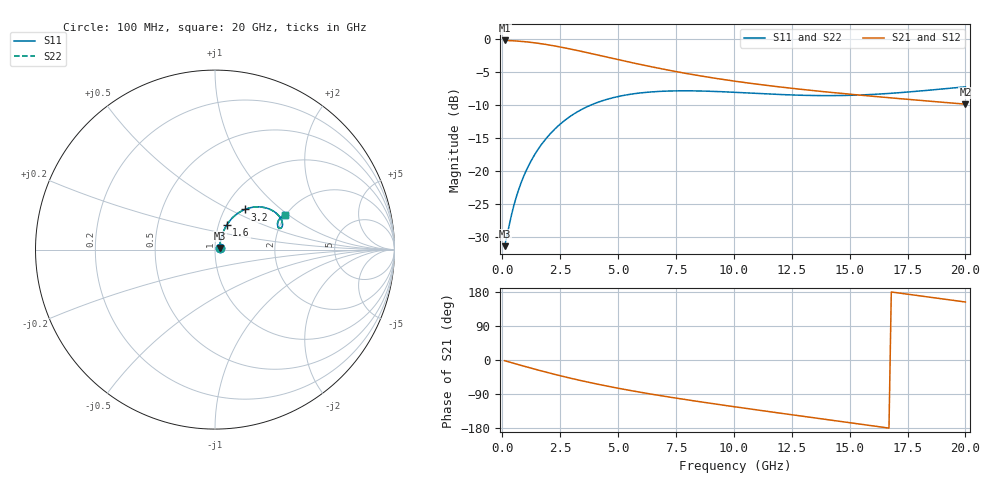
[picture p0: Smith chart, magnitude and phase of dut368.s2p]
! Touchstone file exported from HFSS 2024.1.0
!  File:  C:/UserFiles/LocalFiles/RDL_TSV_Batchsim/temp_RDL_TSV_368_1779642239.aedt
!  Generated:  01:20:57 AM May 25, 2026
!  Design:  RDL_TSV
!  Project:  temp_RDL_TSV_368_1779642239
!  Setup:  Setup1
!  Solution:  Sweep
! Variables:
!  dtsv = 5.97um
!  hbump = 3um
!  htsv = 83.08um
!  ldown = 245.16um
!  lrdl = 523.73um
!  p = 40
!  p1 = 56.94um
!  rhole = 10um
!  subl = 2830.4um
!  t = 450um
!  tdown = 3.2um
!  trdl = 3.09um
!  viad = 10um
!  wdown = 21.89um
!  wrdl = 11.69um
!  xbump = 18um
# GHz S MA R 50.000000
! Terminal data exported
! Port[1] = TM1_1_T1
! Port[2] = TM1_4_T1
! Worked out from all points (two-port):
!   200 points, 100 MHz to 20 GHz, reference 50 ohm
!   highest |S21| = -0.22 dB at 100 MHz (marker M1); lowest = -9.9 dB at 20 GHz (marker M2)
!   |S21| within 3 dB of the highest: start of sweep to 5.138 GHz
!   lowest |S11| = -31.3 dB at 100 MHz (marker M3), VSWR 1.06, Z = 52.6 + j1.01 ohm
!   |S11| at or under -10 dB: start of sweep to 3.819 GHz
!   |S22| runs from -31.3 to -7.2 dB; largest |S21 - S12| = 1.7e-14
!   S11 on the Smith chart (normalised r, x): 100 MHz: 1.05, +0.02; 1.6 GHz: 1.10, +0.31; 3.2 GHz: 1.24, +0.60; 20 GHz: 1.98, +0.94
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0.1  0.02716 20.6  0.9745 -1.8  0.9745 -1.8  0.02716 20.6
! Gamma 0 0 0 0
! Port Impedance 50 0 50 0
0.4  0.04701 52.2  0.9704 -7.1  0.9704 -7.1  0.04701 52.2
0.5  0.05518 56.4  0.9682 -8.8  0.9682 -8.8  0.05518 56.4
0.7  0.07211 61.4  0.963 -12.3  0.963 -12.3  0.07211 61.4
0.9  0.08949 63.8  0.9565 -15.7  0.9565 -15.7  0.08948 63.8
1.1  0.1071 64.9  0.9489 -19.1  0.9489 -19.1  0.1071 64.8
1.6  0.1513 64.4  0.9251 -27.4  0.9251 -27.4  0.1513 64.4
2.3  0.2111 60.5  0.8832 -38.5  0.8832 -38.5  0.211 60.4
2.7  0.2428 57.5  0.8563 -44.5  0.8563 -44.5  0.2426 57.4
3.2  0.2786 53.4  0.8214 -51.6  0.8214 -51.6  0.2784 53.3
3.5  0.2978 50.9  0.8001 -55.7  0.8001 -55.7  0.2976 50.9
4.2  0.3356 45.2  0.7512 -64.9  0.7512 -64.9  0.3353 45.2
5.1  0.3704 38.5  0.6923 -75.6  0.6923 -75.6  0.3699 38.5
5.9  0.3898 33.4  0.6451 -84.5  0.6451 -84.5  0.3893 33.4
6.8  0.4017 28.6  0.5986 -93.7  0.5986 -93.7  0.4011 28.6
8.3  0.4051 22.7  0.5353 -108.0  0.5353 -108.0  0.4044 22.7
10.1  0.3949 18.8  0.4782 -124.0  0.4782 -124.0  0.394 18.8
11.7  0.3824 18.0  0.4398 -137.7  0.4398 -137.7  0.3815 18.1
13.4  0.3739 19.3  0.4076 -152.0  0.4076 -152.0  0.3729 19.4
15  0.375 21.6  0.3827 -165.4  0.3827 -165.4  0.3742 21.8
16.7  0.3875 24.3  0.3597 -179.7  0.3597 -179.7  0.387 24.5
20  0.4347 26.4  0.3217 153.0  0.3217 153.0  0.4347 26.7
